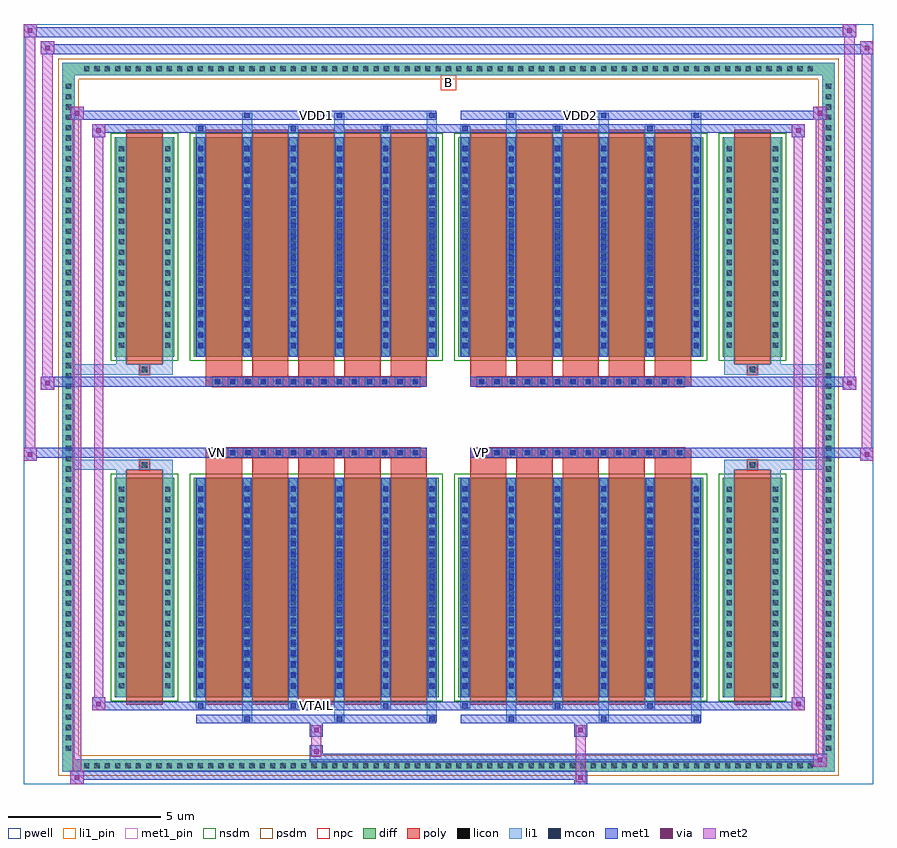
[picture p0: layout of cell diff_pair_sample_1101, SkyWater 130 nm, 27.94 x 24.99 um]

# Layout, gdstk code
import gdstk
lib = gdstk.Library(unit=1e-6, precision=5e-09)
def R(c, l, rs):  # rectangles x0, y0, x1, y1
    for r in rs: c.add(gdstk.rectangle(r[:2], r[2:], *l))
def A(c, l, x, y, w, h, nx, ny, dx, dy):  # array of equal rectangles
    R(c, l, [(x+i*dx, y+j*dy, x+i*dx+w, y+j*dy+h) for i in range(nx) for j in range(ny)])
def P(c, l, *ps):  # polygons
    for p in ps: c.add(gdstk.Polygon(p, *l))
pwell = (64, 44)
diff = (65, 20)
poly = (66, 20)
licon = (66, 44)
li1_pin = (67, 16)
li1 = (67, 20)
mcon = (67, 44)
met1_pin = (68, 16)
met1 = (68, 20)
via = (68, 44)
met2 = (69, 20)
nsdm = (93, 44)
psdm = (94, 20)
npc = (95, 20)

diff_pair_sample_1101 = lib.new_cell('diff_pair_sample_1101')
R(diff_pair_sample_1101, pwell, [(-13.97,-12.06,13.97,12.93), (-11.29,-10.25,-0.01,-0.805), (0.01,-10.25,11.29,-0.805), (-11.29,0.805,-0.01,10.25), (0.01,0.805,11.29,10.25)])
A(diff_pair_sample_1101, diff, -12.105, -11.66, 0.41, 0.41, 71, 2, 0.34, 22.91)
A(diff_pair_sample_1101, diff, -12.7, -11.085, 0.41, 0.41, 1, 65, 0, 0.34)
A(diff_pair_sample_1101, diff, 12.29, -11.085, 0.41, 0.41, 1, 65, 0, 0.34)
R(diff_pair_sample_1101, diff, [(-12.105,-11.66,12.105,-11.25), (-12.7,-11.085,-12.29,11.085), (12.29,-11.085,12.7,11.085), (-10.98,-9.205,-9.01,-1.985), (-8.37,-9.205,-0.32,-1.985), (0.32,-9.205,8.37,-1.985), (9.01,-9.205,10.98,-1.985), (-10.98,1.985,-9.01,9.205), (-8.37,1.985,-0.32,9.205), (0.32,1.985,8.37,9.205), (9.01,1.985,10.98,9.205), (-12.105,11.25,12.105,11.66)])
P(diff_pair_sample_1101, diff, [(12.7,11.66),(-12.7,11.66),(-12.7,-11.25),(-12.29,-11.25),(-12.29,11.25),(12.29,11.25),(12.29,-11.25),(-12.29,-11.25),(-12.7,-11.25),(-12.7,-11.66),(12.7,-11.66)])
A(diff_pair_sample_1101, poly, -7.98, -9.455, 1.19, 7.72, 5, 2, 1.52, 11.19)
A(diff_pair_sample_1101, poly, 0.71, -9.455, 1.19, 7.72, 5, 2, 1.52, 11.19)
A(diff_pair_sample_1101, poly, -7.98, -1.735, 1.19, 0.4, 5, 2, 1.52, 3.07)
A(diff_pair_sample_1101, poly, 0.71, -1.735, 1.19, 0.4, 5, 2, 1.52, 3.07)
A(diff_pair_sample_1101, poly, -7.76, -1.335, 0.33, 0.33, 14, 2, 0.5, 2.34)
A(diff_pair_sample_1101, poly, 0.93, -1.335, 0.33, 0.33, 14, 2, 0.5, 2.34)
R(diff_pair_sample_1101, poly, [(-10.59,-9.455,-9.4,-1.735), (9.4,-9.455,10.59,-1.735), (-10.16,-1.735,-9.83,-1.405), (-10.16,-1.735,-9.83,-1.405), (9.83,-1.735,10.16,-1.405), (9.83,-1.735,10.16,-1.405), (-7.98,-1.335,-0.71,-1.005), (0.71,-1.335,7.98,-1.005), (-7.98,1.005,-0.71,1.335), (0.71,1.005,7.98,1.335), (-10.16,1.405,-9.83,1.735), (-10.16,1.405,-9.83,1.735), (9.83,1.405,10.16,1.735), (9.83,1.405,10.16,1.735), (-10.59,1.735,-9.4,9.455), (9.4,1.735,10.59,9.455)])
A(diff_pair_sample_1101, licon, -11.985, -11.54, 0.17, 0.17, 71, 2, 0.34, 22.91)
A(diff_pair_sample_1101, licon, -12.58, -10.965, 0.17, 0.17, 1, 65, 0, 0.34)
A(diff_pair_sample_1101, licon, 12.41, -10.965, 0.17, 0.17, 1, 65, 0, 0.34)
A(diff_pair_sample_1101, licon, -10.84, -8.91, 0.17, 0.17, 1, 20, 0, 0.34)
A(diff_pair_sample_1101, licon, -9.32, -8.91, 0.17, 0.17, 1, 20, 0, 0.34)
A(diff_pair_sample_1101, licon, -8.23, -8.91, 0.17, 0.17, 6, 20, 1.52, 0.34)
A(diff_pair_sample_1101, licon, 0.46, -8.91, 0.17, 0.17, 6, 20, 1.52, 0.34)
A(diff_pair_sample_1101, licon, 9.15, -8.91, 0.17, 0.17, 1, 20, 0, 0.34)
A(diff_pair_sample_1101, licon, 10.67, -8.91, 0.17, 0.17, 1, 20, 0, 0.34)
A(diff_pair_sample_1101, licon, -7.68, -1.255, 0.17, 0.17, 14, 2, 0.5, 2.34)
A(diff_pair_sample_1101, licon, 1.01, -1.255, 0.17, 0.17, 14, 2, 0.5, 2.34)
A(diff_pair_sample_1101, licon, -10.84, 2.28, 0.17, 0.17, 1, 20, 0, 0.34)
A(diff_pair_sample_1101, licon, -9.32, 2.28, 0.17, 0.17, 1, 20, 0, 0.34)
A(diff_pair_sample_1101, licon, -8.23, 2.28, 0.17, 0.17, 6, 20, 1.52, 0.34)
A(diff_pair_sample_1101, licon, 0.46, 2.28, 0.17, 0.17, 6, 20, 1.52, 0.34)
A(diff_pair_sample_1101, licon, 9.15, 2.28, 0.17, 0.17, 1, 20, 0, 0.34)
A(diff_pair_sample_1101, licon, 10.67, 2.28, 0.17, 0.17, 1, 20, 0, 0.34)
R(diff_pair_sample_1101, licon, [(-10.08,-1.655,-9.91,-1.485), (9.91,-1.655,10.08,-1.485), (-10.08,1.485,-9.91,1.655), (9.91,1.485,10.08,1.655)])
R(diff_pair_sample_1101, li1_pin, [(-0.25,10.75,0.25,11.25)])
A(diff_pair_sample_1101, li1, -12.065, -11.62, 0.33, 0.33, 71, 2, 0.34, 22.91)
A(diff_pair_sample_1101, li1, -12.66, -11.045, 0.33, 0.33, 1, 65, 0, 0.34)
A(diff_pair_sample_1101, li1, 12.33, -11.045, 0.33, 0.33, 1, 65, 0, 0.34)
A(diff_pair_sample_1101, li1, -6.79, -10.01, 0.33, 0.805, 3, 2, 3.04, 19.215)
A(diff_pair_sample_1101, li1, -6.71, -10.01, 0.17, 0.17, 3, 2, 3.04, 19.85)
A(diff_pair_sample_1101, li1, 1.9, -10.01, 0.33, 0.805, 3, 2, 3.04, 19.215)
A(diff_pair_sample_1101, li1, 1.98, -10.01, 0.17, 0.17, 3, 2, 3.04, 19.85)
A(diff_pair_sample_1101, li1, -8.31, -9.58, 0.33, 0.375, 3, 2, 3.04, 18.785)
A(diff_pair_sample_1101, li1, -8.23, -9.58, 0.17, 0.17, 3, 2, 3.04, 18.99)
A(diff_pair_sample_1101, li1, 0.38, -9.58, 0.33, 0.375, 3, 2, 3.04, 18.785)
A(diff_pair_sample_1101, li1, 0.46, -9.58, 0.17, 0.17, 3, 2, 3.04, 18.99)
A(diff_pair_sample_1101, li1, -8.31, -9.205, 0.33, 7.22, 6, 2, 1.52, 11.19)
A(diff_pair_sample_1101, li1, 0.38, -9.205, 0.33, 7.22, 6, 2, 1.52, 11.19)
A(diff_pair_sample_1101, li1, -10.92, -8.99, 0.33, 0.33, 1, 20, 0, 0.34)
A(diff_pair_sample_1101, li1, -9.4, -8.99, 0.33, 0.33, 1, 20, 0, 0.34)
A(diff_pair_sample_1101, li1, -8.31, -8.99, 0.33, 0.33, 6, 20, 1.52, 0.34)
A(diff_pair_sample_1101, li1, 0.38, -8.99, 0.33, 0.33, 6, 20, 1.52, 0.34)
A(diff_pair_sample_1101, li1, 9.07, -8.99, 0.33, 0.33, 1, 20, 0, 0.34)
A(diff_pair_sample_1101, li1, 10.59, -8.99, 0.33, 0.33, 1, 20, 0, 0.34)
A(diff_pair_sample_1101, li1, -8.23, -8.92, 0.17, 0.17, 6, 19, 1.52, 0.36)
A(diff_pair_sample_1101, li1, -8.23, -8.92, 0.17, 6.65, 6, 2, 1.52, 11.19)
A(diff_pair_sample_1101, li1, 0.46, -8.92, 0.17, 0.17, 6, 19, 1.52, 0.36)
A(diff_pair_sample_1101, li1, 0.46, -8.92, 0.17, 6.65, 6, 2, 1.52, 11.19)
A(diff_pair_sample_1101, li1, -7.76, -1.335, 0.33, 0.33, 14, 2, 0.5, 2.34)
A(diff_pair_sample_1101, li1, 0.93, -1.335, 0.33, 0.33, 14, 2, 0.5, 2.34)
A(diff_pair_sample_1101, li1, -10.92, 2.2, 0.33, 0.33, 1, 20, 0, 0.34)
A(diff_pair_sample_1101, li1, -9.4, 2.2, 0.33, 0.33, 1, 20, 0, 0.34)
A(diff_pair_sample_1101, li1, -8.31, 2.2, 0.33, 0.33, 6, 20, 1.52, 0.34)
A(diff_pair_sample_1101, li1, 0.38, 2.2, 0.33, 0.33, 6, 20, 1.52, 0.34)
A(diff_pair_sample_1101, li1, 9.07, 2.2, 0.33, 0.33, 1, 20, 0, 0.34)
A(diff_pair_sample_1101, li1, 10.59, 2.2, 0.33, 0.33, 1, 20, 0, 0.34)
A(diff_pair_sample_1101, li1, -8.23, 2.27, 0.17, 0.17, 6, 19, 1.52, 0.36)
A(diff_pair_sample_1101, li1, 0.46, 2.27, 0.17, 0.17, 6, 19, 1.52, 0.36)
R(diff_pair_sample_1101, li1, [(-12.7,-11.66,-12.29,-11.25), (-12.7,-11.66,-12.29,-11.25), (-12.29,-11.66,12.29,-11.25), (12.29,-11.66,12.7,-11.25), (12.29,-11.66,12.7,-11.25), (-12.7,-11.25,-12.29,11.25), (12.29,-11.25,12.7,11.25), (-10.92,-9.205,-10.59,-1.985), (-9.4,-9.205,-9.07,-1.985), (9.07,-9.205,9.4,-1.985), (10.59,-9.205,10.92,-1.985), (-10.92,-1.985,-10.59,-1.405), (-9.4,-1.985,-9.07,-1.405), (9.07,-1.985,9.4,-1.405), (10.59,-1.985,10.92,-1.405), (-12.7,-1.735,-10.16,-1.405), (-10.92,-1.735,-10.16,-1.405), (-10.16,-1.735,-9.83,-1.405), (-9.83,-1.735,-9.07,-1.405), (9.07,-1.735,9.83,-1.405), (9.83,-1.735,10.16,-1.405), (9.83,-1.735,12.7,-1.405), (10.16,-1.735,10.92,-1.405), (-12.7,1.405,-10.16,1.735), (-10.92,1.405,-10.16,1.735), (-10.92,1.405,-10.59,1.985), (-10.16,1.405,-9.83,1.735), (-9.83,1.405,-9.07,1.735), (-9.4,1.405,-9.07,1.985), (9.07,1.405,9.83,1.735), (9.07,1.405,9.4,1.985), (9.83,1.405,10.16,1.735), (9.83,1.405,12.7,1.735), (10.16,1.405,10.92,1.735), (10.59,1.405,10.92,1.985), (-10.92,1.985,-10.59,9.205), (-9.4,1.985,-9.07,9.205), (9.07,1.985,9.4,9.205), (10.59,1.985,10.92,9.205), (-12.7,11.25,-12.29,11.66), (-12.7,11.25,-12.29,11.66), (-12.29,11.25,12.29,11.66), (12.29,11.25,12.7,11.66), (12.29,11.25,12.7,11.66)])
A(diff_pair_sample_1101, mcon, -6.71, -10.01, 0.17, 0.17, 3, 2, 3.04, 19.85)
A(diff_pair_sample_1101, mcon, 1.98, -10.01, 0.17, 0.17, 3, 2, 3.04, 19.85)
A(diff_pair_sample_1101, mcon, -8.23, -9.58, 0.17, 0.17, 3, 2, 3.04, 18.99)
A(diff_pair_sample_1101, mcon, 0.46, -9.58, 0.17, 0.17, 3, 2, 3.04, 18.99)
A(diff_pair_sample_1101, mcon, -8.23, -8.92, 0.17, 0.17, 6, 19, 1.52, 0.36)
A(diff_pair_sample_1101, mcon, 0.46, -8.92, 0.17, 0.17, 6, 19, 1.52, 0.36)
A(diff_pair_sample_1101, mcon, -7.68, -1.255, 0.17, 0.17, 14, 2, 0.5, 2.34)
A(diff_pair_sample_1101, mcon, 1.01, -1.255, 0.17, 0.17, 14, 2, 0.5, 2.34)
A(diff_pair_sample_1101, mcon, -8.23, 2.27, 0.17, 0.17, 6, 19, 1.52, 0.36)
A(diff_pair_sample_1101, mcon, 0.46, 2.27, 0.17, 0.17, 6, 19, 1.52, 0.36)
R(diff_pair_sample_1101, met1_pin, [(-4.48,-9.62,-4.21,-9.35), (-7.73,-1.295,-7.46,-1.025), (0.96,-1.295,1.23,-1.025), (-4.48,9.8,-4.21,10.07), (4.21,9.8,4.48,10.07)])
A(diff_pair_sample_1101, met1, -6.77, -10.07, 0.29, 0.29, 3, 2, 3.04, 19.85)
A(diff_pair_sample_1101, met1, 1.92, -10.07, 0.29, 0.29, 3, 2, 3.04, 19.85)
A(diff_pair_sample_1101, met1, -8.29, -9.64, 0.29, 0.29, 3, 2, 3.04, 18.99)
A(diff_pair_sample_1101, met1, 0.4, -9.64, 0.29, 0.29, 3, 2, 3.04, 18.99)
A(diff_pair_sample_1101, met1, -8.29, -9.205, 0.29, 7.22, 6, 2, 1.52, 11.19)
A(diff_pair_sample_1101, met1, 0.4, -9.205, 0.29, 7.22, 6, 2, 1.52, 11.19)
A(diff_pair_sample_1101, met1, -8.29, -8.98, 0.29, 0.29, 6, 19, 1.52, 0.36)
A(diff_pair_sample_1101, met1, 0.4, -8.98, 0.29, 0.29, 6, 19, 1.52, 0.36)
A(diff_pair_sample_1101, met1, -7.74, -1.315, 0.29, 0.29, 14, 2, 0.5, 2.34)
A(diff_pair_sample_1101, met1, 0.95, -1.315, 0.29, 0.29, 14, 2, 0.5, 2.34)
A(diff_pair_sample_1101, met1, -8.29, 2.21, 0.29, 0.29, 6, 19, 1.52, 0.36)
A(diff_pair_sample_1101, met1, 0.4, 2.21, 0.29, 0.29, 6, 19, 1.52, 0.36)
R(diff_pair_sample_1101, met1, [(-12.43,-12.06,-12,-11.63), (4.13,-12.06,4.56,-11.63), (-12.43,-11.92,4.56,-11.63), (12,-11.49,12.43,-11.06), (-4.56,-11.35,12.43,-11.06), (-4.56,-11.21,-4.13,-10.78), (-4.56,-10.5,-4.13,-10.07), (4.13,-10.5,4.56,-10.07), (-8.29,-10.07,-0.4,-9.78), (0.4,-10.07,8.29,-9.78), (-11.72,-9.64,-11.29,-9.21), (-11.72,-9.64,-8.29,-9.35), (-8.29,-9.64,-0.4,-9.35), (-0.4,-9.64,0.4,-9.35), (0.4,-9.64,8.29,-9.35), (8.29,-9.64,11.72,-9.35), (11.29,-9.64,11.72,-9.21), (-13.97,-1.435,-13.54,-1.005), (13.54,-1.435,13.97,-1.005), (-13.97,-1.335,-0.71,-1.005), (-7.98,-1.335,-0.71,-1.005), (0.71,-1.335,7.98,-1.005), (0.71,-1.335,13.97,-1.005), (-13.4,0.905,-12.97,1.335), (12.97,0.905,13.4,1.335), (-13.4,1.005,-7.98,1.335), (-7.98,1.005,-0.71,1.335), (0.71,1.005,7.98,1.335), (7.98,1.005,13.4,1.335), (-11.72,9.21,-11.29,9.64), (11.29,9.21,11.72,9.64), (-11.72,9.35,-8.29,9.64), (-8.29,9.35,-0.4,9.64), (-0.4,9.35,0.4,9.64), (0.4,9.35,8.29,9.64), (8.29,9.35,11.72,9.64), (-12.43,9.78,-12,10.21), (-12.43,9.78,-8.29,10.07), (-8.29,9.78,-0.4,10.07), (0.4,9.78,8.29,10.07), (8.29,9.78,12.43,10.07), (12,9.78,12.43,10.21), (-13.4,11.93,-12.97,12.36), (-13.4,11.93,-11.29,12.26), (-11.29,11.93,11.29,12.26), (11.29,11.93,13.97,12.26), (13.54,11.93,13.97,12.36), (-13.97,12.5,-13.54,12.93), (-13.97,12.5,-11.29,12.83), (-11.29,12.5,11.29,12.83), (11.29,12.5,13.4,12.83), (12.97,12.5,13.4,12.93)])
R(diff_pair_sample_1101, via, [(-12.29,-11.92,-12.14,-11.77), (4.27,-11.92,4.42,-11.77), (12.14,-11.35,12.29,-11.2), (-4.42,-11.07,-4.27,-10.92), (-4.42,-10.36,-4.27,-10.21), (4.27,-10.36,4.42,-10.21), (-11.58,-9.5,-11.43,-9.35), (11.43,-9.5,11.58,-9.35), (-13.83,-1.295,-13.68,-1.145), (13.68,-1.295,13.83,-1.145), (-13.26,1.045,-13.11,1.195), (13.11,1.045,13.26,1.195), (-11.58,9.35,-11.43,9.5), (11.43,9.35,11.58,9.5), (-12.29,9.92,-12.14,10.07), (12.14,9.92,12.29,10.07), (-13.26,12.07,-13.11,12.22), (13.68,12.07,13.83,12.22), (-13.83,12.64,-13.68,12.79), (13.11,12.64,13.26,12.79)])
R(diff_pair_sample_1101, met2, [(-12.43,-12.06,-12,-11.63), (-12.36,-12.06,-12.07,10.21), (-12.07,-12.06,-12,-11.63), (-12.38,-12.01,-12.05,-11.68), (4.18,-12.01,4.51,-11.68), (4.18,-11.68,4.51,-10.45), (12,-11.49,12.43,-11.06), (12.07,-11.49,12.36,10.21), (12.36,-11.49,12.43,-11.06), (12.05,-11.44,12.38,-11.11), (-4.51,-11.16,-4.18,-10.83), (-4.51,-10.83,-4.18,-10.45), (-4.51,-10.45,-4.18,-10.12), (4.18,-10.45,4.51,-10.12), (-11.72,-9.64,-11.29,-9.21), (-11.65,-9.64,-11.36,9.64), (-11.36,-9.64,-11.29,-9.21), (11.29,-9.64,11.72,-9.21), (11.36,-9.64,11.65,9.64), (11.65,-9.64,11.72,-9.21), (-11.67,-9.59,-11.34,-9.26), (11.34,-9.59,11.67,-9.26), (-13.97,-1.435,-13.54,-1.005), (-13.92,-1.435,-13.59,12.93), (-13.59,-1.435,-13.54,-1.005), (13.54,-1.435,13.97,-1.005), (13.59,-1.435,13.92,12.36), (13.92,-1.435,13.97,-1.005), (-13.92,-1.385,-13.59,-1.055), (13.59,-1.385,13.92,-1.055), (-13.4,0.905,-12.97,1.335), (-13.35,0.905,-13.02,12.36), (-13.02,0.905,-12.97,1.335), (12.97,0.905,13.4,1.335), (13.02,0.905,13.35,12.93), (13.35,0.905,13.4,1.335), (-13.35,0.955,-13.02,1.285), (13.02,0.955,13.35,1.285), (-11.72,9.21,-11.29,9.64), (-11.36,9.21,-11.29,9.64), (11.29,9.21,11.72,9.64), (11.65,9.21,11.72,9.64), (-11.67,9.26,-11.34,9.59), (11.34,9.26,11.67,9.59), (-12.43,9.78,-12,10.21), (-12.07,9.78,-12,10.21), (12,9.78,12.43,10.21), (12.36,9.78,12.43,10.21), (-12.38,9.83,-12.05,10.16), (12.05,9.83,12.38,10.16), (-13.4,11.93,-12.97,12.36), (-13.02,11.93,-12.97,12.36), (13.54,11.93,13.97,12.36), (13.92,11.93,13.97,12.36), (-13.35,11.98,-13.02,12.31), (13.59,11.98,13.92,12.31), (-13.97,12.5,-13.54,12.93), (-13.59,12.5,-13.54,12.93), (12.97,12.5,13.4,12.93), (13.35,12.5,13.4,12.93), (-13.92,12.55,-13.59,12.88), (13.02,12.55,13.35,12.88)])
R(diff_pair_sample_1101, nsdm, [(-11.11,-9.335,-8.88,-1.855), (-8.5,-9.335,-0.19,-1.855), (0.19,-9.335,8.5,-1.855), (8.88,-9.335,11.11,-1.855), (-11.11,1.855,-8.88,9.335), (-8.5,1.855,-0.19,9.335), (0.19,1.855,8.5,9.335), (8.88,1.855,11.11,9.335)])
P(diff_pair_sample_1101, psdm, [(12.83,11.79),(-12.83,11.79),(-12.83,-11.12),(-12.16,-11.12),(-12.16,11.12),(12.16,11.12),(12.16,-11.12),(-12.16,-11.12),(-12.83,-11.12),(-12.83,-11.79),(12.83,-11.79)])
A(diff_pair_sample_1101, npc, -7.78, -1.355, 0.37, 0.37, 14, 2, 0.5, 2.34)
A(diff_pair_sample_1101, npc, 0.91, -1.355, 0.37, 0.37, 14, 2, 0.5, 2.34)
R(diff_pair_sample_1101, npc, [(-10.18,-1.755,-9.81,-1.385), (9.81,-1.755,10.18,-1.385), (-7.78,-1.355,-6.91,-0.985), (-7.78,-1.355,-6.91,-0.985), (-7.28,-1.355,-6.41,-0.985), (-7.28,-1.355,-6.41,-0.985), (-6.78,-1.355,-5.91,-0.985), (-6.78,-1.355,-5.91,-0.985), (-6.28,-1.355,-5.41,-0.985), (-6.28,-1.355,-5.41,-0.985), (-5.78,-1.355,-4.91,-0.985), (-5.78,-1.355,-4.91,-0.985), (-5.28,-1.355,-4.41,-0.985), (-5.28,-1.355,-4.41,-0.985), (-4.78,-1.355,-3.91,-0.985), (-4.78,-1.355,-3.91,-0.985), (-4.28,-1.355,-3.41,-0.985), (-4.28,-1.355,-3.41,-0.985), (-3.78,-1.355,-2.91,-0.985), (-3.78,-1.355,-2.91,-0.985), (-3.28,-1.355,-2.41,-0.985), (-3.28,-1.355,-2.41,-0.985), (-2.78,-1.355,-1.91,-0.985), (-2.78,-1.355,-1.91,-0.985), (-2.28,-1.355,-1.41,-0.985), (-2.28,-1.355,-1.41,-0.985), (-1.78,-1.355,-0.91,-0.985), (-1.78,-1.355,-0.91,-0.985), (0.91,-1.355,1.78,-0.985), (0.91,-1.355,1.78,-0.985), (1.41,-1.355,2.28,-0.985), (1.41,-1.355,2.28,-0.985), (1.91,-1.355,2.78,-0.985), (1.91,-1.355,2.78,-0.985), (2.41,-1.355,3.28,-0.985), (2.41,-1.355,3.28,-0.985), (2.91,-1.355,3.78,-0.985), (2.91,-1.355,3.78,-0.985), (3.41,-1.355,4.28,-0.985), (3.41,-1.355,4.28,-0.985), (3.91,-1.355,4.78,-0.985), (3.91,-1.355,4.78,-0.985), (4.41,-1.355,5.28,-0.985), (4.41,-1.355,5.28,-0.985), (4.91,-1.355,5.78,-0.985), (4.91,-1.355,5.78,-0.985), (5.41,-1.355,6.28,-0.985), (5.41,-1.355,6.28,-0.985), (5.91,-1.355,6.78,-0.985), (5.91,-1.355,6.78,-0.985), (6.41,-1.355,7.28,-0.985), (6.41,-1.355,7.28,-0.985), (6.91,-1.355,7.78,-0.985), (6.91,-1.355,7.78,-0.985), (-7.78,0.985,-6.91,1.355), (-7.78,0.985,-6.91,1.355), (-7.28,0.985,-6.41,1.355), (-7.28,0.985,-6.41,1.355), (-6.78,0.985,-5.91,1.355), (-6.78,0.985,-5.91,1.355), (-6.28,0.985,-5.41,1.355), (-6.28,0.985,-5.41,1.355), (-5.78,0.985,-4.91,1.355), (-5.78,0.985,-4.91,1.355), (-5.28,0.985,-4.41,1.355), (-5.28,0.985,-4.41,1.355), (-4.78,0.985,-3.91,1.355), (-4.78,0.985,-3.91,1.355), (-4.28,0.985,-3.41,1.355), (-4.28,0.985,-3.41,1.355), (-3.78,0.985,-2.91,1.355), (-3.78,0.985,-2.91,1.355), (-3.28,0.985,-2.41,1.355), (-3.28,0.985,-2.41,1.355), (-2.78,0.985,-1.91,1.355), (-2.78,0.985,-1.91,1.355), (-2.28,0.985,-1.41,1.355), (-2.28,0.985,-1.41,1.355), (-1.78,0.985,-0.91,1.355), (-1.78,0.985,-0.91,1.355), (0.91,0.985,1.78,1.355), (0.91,0.985,1.78,1.355), (1.41,0.985,2.28,1.355), (1.41,0.985,2.28,1.355), (1.91,0.985,2.78,1.355), (1.91,0.985,2.78,1.355), (2.41,0.985,3.28,1.355), (2.41,0.985,3.28,1.355), (2.91,0.985,3.78,1.355), (2.91,0.985,3.78,1.355), (3.41,0.985,4.28,1.355), (3.41,0.985,4.28,1.355), (3.91,0.985,4.78,1.355), (3.91,0.985,4.78,1.355), (4.41,0.985,5.28,1.355), (4.41,0.985,5.28,1.355), (4.91,0.985,5.78,1.355), (4.91,0.985,5.78,1.355), (5.41,0.985,6.28,1.355), (5.41,0.985,6.28,1.355), (5.91,0.985,6.78,1.355), (5.91,0.985,6.78,1.355), (6.41,0.985,7.28,1.355), (6.41,0.985,7.28,1.355), (6.91,0.985,7.78,1.355), (6.91,0.985,7.78,1.355), (-10.18,1.385,-9.81,1.755), (9.81,1.385,10.18,1.755)])
diff_pair_sample_1101.add(gdstk.Label('VTAIL', (-4.345,-9.485), layer=68, texttype=5))
diff_pair_sample_1101.add(gdstk.Label('VN', (-7.595,-1.16), layer=68, texttype=5))
diff_pair_sample_1101.add(gdstk.Label('VP', (1.095,-1.16), layer=68, texttype=5))
diff_pair_sample_1101.add(gdstk.Label('B', (0,11), layer=67, texttype=5))
diff_pair_sample_1101.add(gdstk.Label('VDD2', (4.345,9.935), layer=68, texttype=5))
diff_pair_sample_1101.add(gdstk.Label('VDD1', (-4.345,9.935), layer=68, texttype=5))

lib.write_gds('diff_pair_sample_1101.gds')
